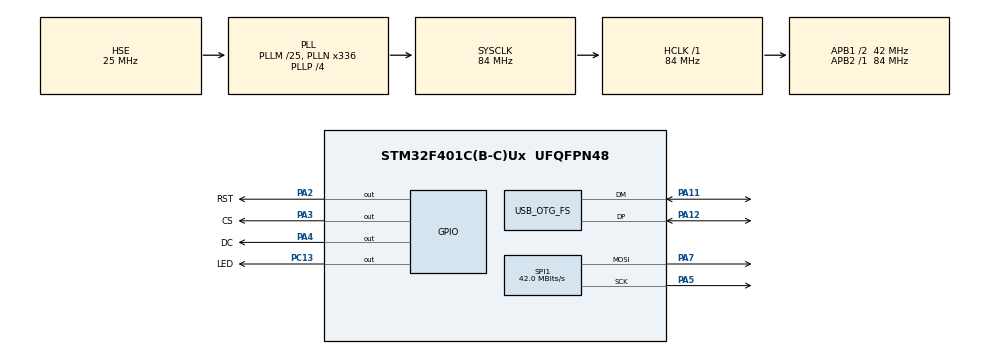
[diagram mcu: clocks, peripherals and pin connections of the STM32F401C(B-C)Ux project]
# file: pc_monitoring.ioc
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Mcu.Family=STM32F4
Mcu.Name=STM32F401C(B-C)Ux
Mcu.Package=UFQFPN48
NVIC.OTG_FS_IRQn=true\:0\:0\:false\:false\:true\:false\:true\:true
NVIC.PriorityGroup=NVIC_PRIORITYGROUP_4
NVIC.SPI1_IRQn=true\:0\:0\:false\:false\:true\:true\:true\:true
NVIC.TIM3_IRQn=true\:0\:0\:false\:false\:true\:true\:true\:true
NVIC.TIM4_IRQn=true\:0\:0\:false\:false\:true\:true\:true\:true
PA11.Mode=Device_Only
PA11.Signal=USB_OTG_FS_DM
PA12.Mode=Device_Only
PA12.Signal=USB_OTG_FS_DP
PA13.Mode=Serial_Wire
PA13.Signal=SYS_JTMS-SWDIO
PA14.Mode=Serial_Wire
PA14.Signal=SYS_JTCK-SWCLK
PA2.GPIO_Label=RST
PA2.Signal=GPIO_Output
PA3.GPIO_Label=CS
PA3.Signal=GPIO_Output
PA4.GPIO_Label=DC
PA4.Signal=GPIO_Output
PA5.Mode=TX_Only_Simplex_Unidirect_Master
PA5.Signal=SPI1_SCK
PA7.Mode=TX_Only_Simplex_Unidirect_Master
PA7.Signal=SPI1_MOSI
PC13-ANTI_TAMP.GPIO_Label=LED
PC13-ANTI_TAMP.Signal=GPIO_Output
PH0\ -\ OSC_IN.Mode=HSE-External-Oscillator
PH0\ -\ OSC_IN.Signal=RCC_OSC_IN
PH1\ -\ OSC_OUT.Mode=HSE-External-Oscillator
PH1\ -\ OSC_OUT.Signal=RCC_OSC_OUT
ProjectManager.HeapSize=0x200
ProjectManager.StackSize=0x400
ProjectManager.TargetToolchain=CMake
RCC.48MHZClocksFreq_Value=48000000
RCC.AHBFreq_Value=84000000
RCC.APB1CLKDivider=RCC_HCLK_DIV2
RCC.APB1Freq_Value=42000000
RCC.APB1TimFreq_Value=84000000
RCC.APB2Freq_Value=84000000
RCC.APB2TimFreq_Value=84000000
RCC.CortexFreq_Value=84000000
RCC.HCLKFreq_Value=84000000
RCC.HSE_VALUE=25000000
RCC.HSI_VALUE=16000000
RCC.LSE_VALUE=32768
RCC.PLLM=25
RCC.PLLN=336
RCC.PLLP=RCC_PLLP_DIV4
RCC.PLLQ=7
RCC.SYSCLKFreq_VALUE=84000000
RCC.SYSCLKSource=RCC_SYSCLKSOURCE_PLLCLK
RCC.VCOOutputFreq_Value=336000000
SPI1.BaudRatePrescaler=SPI_BAUDRATEPRESCALER_2
SPI1.CalculateBaudRate=42.0 MBits/s
SPI1.Direction=SPI_DIRECTION_2LINES
SPI1.Mode=SPI_MODE_MASTER
SPI1.VirtualType=VM_MASTER
TIM3.Period=999
TIM3.Prescaler=83
TIM4.Period=999
TIM4.Prescaler=83
USB_DEVICE.CLASS_NAME_FS=CDC
USB_DEVICE.MANUFACTURER_STRING=cempod
USB_DEVICE.PRODUCT_STRING_CDC_FS=PC Monitoring System
USB_DEVICE.VID=1706
USB_DEVICE.VirtualMode=Cdc
USB_DEVICE.VirtualModeFS=Cdc_FS
USB_OTG_FS.VirtualMode=Device_Only
VP_TIM3_VS_ClockSourceINT.Mode=Internal
VP_TIM4_VS_ClockSourceINT.Mode=Internal
VP_USB_DEVICE_VS_USB_DEVICE_CDC_FS.Mode=CDC_FS
board=custom

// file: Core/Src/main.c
/* USER CODE BEGIN Header */
/**
  ******************************************************************************
  * @file           : main.c
  * @brief          : Main program body
  ******************************************************************************
  * @attention
  *
  * Copyright (c) 2024 STMicroelectronics.
  * All rights reserved.
  *
  * This software is licensed under terms that can be found in the LICENSE file
  * in the root directory of this software component.
  * If no LICENSE file comes with this software, it is provided AS-IS.
  *
  ******************************************************************************
  */
/* USER CODE END Header */
#include "main.h"
#include "spi.h"
#include "tim.h"
#include "usb_device.h"
#include "gpio.h"

/* USER CODE BEGIN Includes */
#include "usbd_cdc_if.h"
#include "GC9A01.h"
#include "lvgl.h"
#include "display_interface.h"
/* USER CODE END Includes */

/* USER CODE BEGIN PM */
lv_display_t *display;

uint8_t cpu_temp=0;
uint8_t gpu_temp=0;
uint8_t cpu_load=0;
uint8_t gpu_load=0;
uint32_t cpu_temp_last = 0;
uint32_t cpu_load_last = 0;
uint32_t gpu_temp_last = 0;
uint32_t gpu_load_last = 0;

uint32_t connection_tick = 2500;
/* USER CODE END PM */

void SystemClock_Config(void);
/* USER CODE BEGIN PFP */
void my_disp_flush(lv_display_t * disp, const lv_area_t * area, uint8_t * color_p);
/* USER CODE END PFP */

int main(void)
{

  /* MCU Configuration--------------------------------------------------------*/

  /* Reset of all peripherals, Initializes the Flash interface and the Systick. */
  HAL_Init();

  /* Configure the system clock */
  SystemClock_Config();

  /* Initialize all configured peripherals */
  MX_GPIO_Init();
  MX_USB_DEVICE_Init();
  MX_SPI1_Init();
  MX_TIM3_Init();
  MX_TIM4_Init();
  /* USER CODE BEGIN 2 */
  display_Init();
  lv_init();

  display = lv_display_create(240, 240);
  static lv_color_t buf1[240 * 240 / 10];                        /*Declare a buffer for 1/10 screen size*/
  lv_display_set_buffers(display, buf1, NULL, sizeof(buf1),LV_DISP_RENDER_MODE_PARTIAL);  /*Initialize the display buffer.*/
  lv_display_set_flush_cb(display, my_disp_flush);

  HAL_TIM_Base_Start_IT(&htim3);
  HAL_TIM_Base_Start_IT(&htim4);

  interface_init();
  /* USER CODE END 2 */

  /* Infinite loop */
  /* USER CODE BEGIN WHILE */
  while (1)
  {
    if(cpu_temp_last!=cpu_temp){
      cpu_temp_last = cpu_temp;
      set_cpu_temp(cpu_temp);
    }
    if(gpu_temp_last!=gpu_temp){
      gpu_temp_last=gpu_temp;
      set_gpu_temp(gpu_temp);
    }
    if(cpu_load_last!=cpu_load){
      set_cpu_load(cpu_load,cpu_load_last);
      cpu_load_last=cpu_load;
    }
    if(gpu_load_last!=gpu_load){
      set_gpu_load(gpu_load,gpu_load_last);
      gpu_load_last=gpu_load;
    }
    if(connection_tick>=2500){
      connection_tick=2500;
      set_usb_status(USB_DISCONNECTED);
    }else{
      set_usb_status(USB_OK);
    }
    HAL_Delay(50);
    /* USER CODE END WHILE */

  }
}

void SystemClock_Config(void)
{
  RCC_OscInitTypeDef RCC_OscInitStruct = {0};
  RCC_ClkInitTypeDef RCC_ClkInitStruct = {0};

  /** Configure the main internal regulator output voltage
  */
  __HAL_RCC_PWR_CLK_ENABLE();
  __HAL_PWR_VOLTAGESCALING_CONFIG(PWR_REGULATOR_VOLTAGE_SCALE2);

  /** Initializes the RCC Oscillators according to the specified parameters
  * in the RCC_OscInitTypeDef structure.
  */
  RCC_OscInitStruct.OscillatorType = RCC_OSCILLATORTYPE_HSE;
  RCC_OscInitStruct.HSEState = RCC_HSE_ON;
  RCC_OscInitStruct.PLL.PLLState = RCC_PLL_ON;
  RCC_OscInitStruct.PLL.PLLSource = RCC_PLLSOURCE_HSE;
  RCC_OscInitStruct.PLL.PLLM = 25;
  RCC_OscInitStruct.PLL.PLLN = 336;
  RCC_OscInitStruct.PLL.PLLP = RCC_PLLP_DIV4;
  RCC_OscInitStruct.PLL.PLLQ = 7;
  if (HAL_RCC_OscConfig(&RCC_OscInitStruct) != HAL_OK)
  {
    Error_Handler();
  }

  /** Initializes the CPU, AHB and APB buses clocks
  */
  RCC_ClkInitStruct.ClockType = RCC_CLOCKTYPE_HCLK|RCC_CLOCKTYPE_SYSCLK
                              |RCC_CLOCKTYPE_PCLK1|RCC_CLOCKTYPE_PCLK2;
  RCC_ClkInitStruct.SYSCLKSource = RCC_SYSCLKSOURCE_PLLCLK;
  RCC_ClkInitStruct.AHBCLKDivider = RCC_SYSCLK_DIV1;
  RCC_ClkInitStruct.APB1CLKDivider = RCC_HCLK_DIV2;
  RCC_ClkInitStruct.APB2CLKDivider = RCC_HCLK_DIV1;

  if (HAL_RCC_ClockConfig(&RCC_ClkInitStruct, FLASH_LATENCY_2) != HAL_OK)
  {
    Error_Handler();
  }
}

/* USER CODE BEGIN 4 */
void my_disp_flush(lv_display_t * disp, const lv_area_t * area, uint8_t * color_p)
{
    display_set_window(area->x1,area->y1,area->x2,area->y2);
    display_send_buffer(area->x2-area->x1+1,area->y2-area->y1+1, color_p);
    lv_display_flush_ready(disp);

            /* Indicate you are ready with the flushing*/
}

void HAL_TIM_PeriodElapsedCallback(TIM_HandleTypeDef *htim)
{
        if(htim->Instance == TIM3) //check if the interrupt comes from TIM1
        {
          connection_tick++;
          lv_tick_inc(1);
        }
        if(htim->Instance == TIM4)
        {
          lv_timer_handler();
        }
}

/* USER CODE END 4 */

void Error_Handler(void)
{
  __disable_irq();
  while (1)
  {
  }
}
